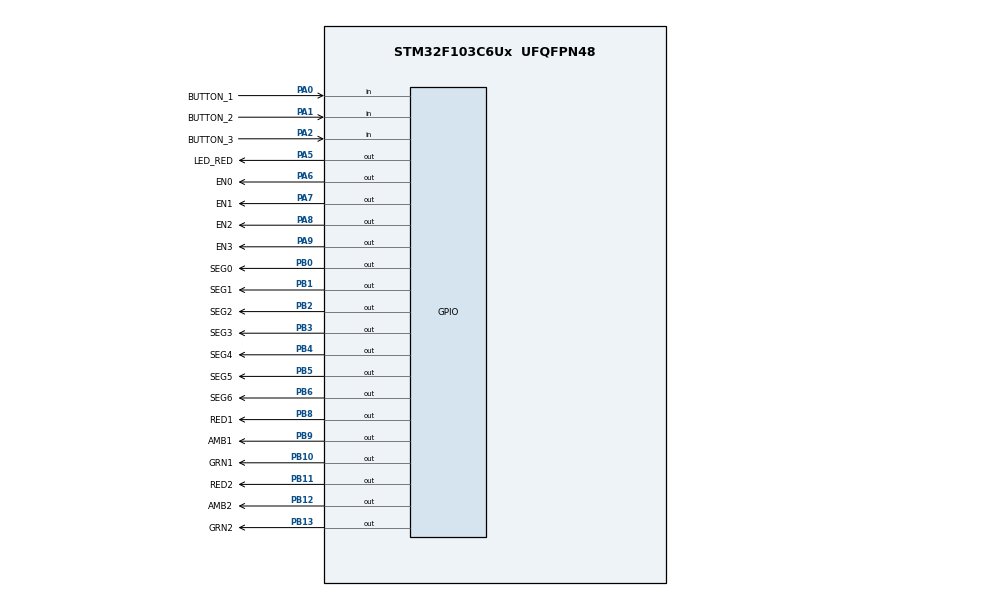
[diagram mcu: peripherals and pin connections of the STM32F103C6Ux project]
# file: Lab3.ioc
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Mcu.Family=STM32F1
Mcu.Name=STM32F103C6Ux
Mcu.Package=UFQFPN48
NVIC.PriorityGroup=NVIC_PRIORITYGROUP_4
NVIC.TIM2_IRQn=true\:0\:0\:false\:false\:true\:true\:true
PA0-WKUP.GPIO_Label=BUTTON_1
PA0-WKUP.GPIO_PuPd=GPIO_NOPULL
PA0-WKUP.Signal=GPIO_Input
PA1.GPIO_Label=BUTTON_2
PA1.GPIO_PuPd=GPIO_NOPULL
PA1.Signal=GPIO_Input
PA2.GPIO_Label=BUTTON_3
PA2.GPIO_PuPd=GPIO_NOPULL
PA2.Signal=GPIO_Input
PA5.GPIO_Label=LED_RED
PA5.PinState=GPIO_PIN_SET
PA5.Signal=GPIO_Output
PA6.GPIO_Label=EN0
PA6.PinState=GPIO_PIN_SET
PA6.Signal=GPIO_Output
PA7.GPIO_Label=EN1
PA7.PinState=GPIO_PIN_SET
PA7.Signal=GPIO_Output
PA8.GPIO_Label=EN2
PA8.PinState=GPIO_PIN_SET
PA8.Signal=GPIO_Output
PA9.GPIO_Label=EN3
PA9.PinState=GPIO_PIN_SET
PA9.Signal=GPIO_Output
PB0.GPIO_Label=SEG0
PB0.PinState=GPIO_PIN_SET
PB0.Signal=GPIO_Output
PB1.GPIO_Label=SEG1
PB1.PinState=GPIO_PIN_SET
PB1.Signal=GPIO_Output
PB10.GPIO_Label=GRN1
PB10.PinState=GPIO_PIN_RESET
PB10.Signal=GPIO_Output
PB11.GPIO_Label=RED2
PB11.PinState=GPIO_PIN_RESET
PB11.Signal=GPIO_Output
PB12.GPIO_Label=AMB2
PB12.PinState=GPIO_PIN_RESET
PB12.Signal=GPIO_Output
PB13.GPIO_Label=GRN2
PB13.PinState=GPIO_PIN_RESET
PB13.Signal=GPIO_Output
PB2.GPIO_Label=SEG2
PB2.PinState=GPIO_PIN_SET
PB2.Signal=GPIO_Output
PB3.GPIO_Label=SEG3
PB3.PinState=GPIO_PIN_SET
PB3.Signal=GPIO_Output
PB4.GPIO_Label=SEG4
PB4.PinState=GPIO_PIN_SET
PB4.Signal=GPIO_Output
PB5.GPIO_Label=SEG5
PB5.PinState=GPIO_PIN_SET
PB5.Signal=GPIO_Output
PB6.GPIO_Label=SEG6
PB6.PinState=GPIO_PIN_SET
PB6.Signal=GPIO_Output
PB8.GPIO_Label=RED1
PB8.PinState=GPIO_PIN_RESET
PB8.Signal=GPIO_Output
PB9.GPIO_Label=AMB1
PB9.PinState=GPIO_PIN_RESET
PB9.Signal=GPIO_Output
ProjectManager.HeapSize=0x200
ProjectManager.StackSize=0x400
ProjectManager.TargetToolchain=STM32CubeIDE
RCC.APB1Freq_Value=8000000
RCC.APB2Freq_Value=8000000
TIM2.Period=9
TIM2.Prescaler=7999
VP_SYS_VS_ND.Mode=No_Debug
VP_TIM2_VS_ClockSourceINT.Mode=Internal
board=custom

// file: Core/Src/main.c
/* USER CODE BEGIN Header */
/**
  ******************************************************************************
  * @file           : main.c
  * @brief          : Main program body
  ******************************************************************************
  * @attention
  *
  * <h2><center>&copy; Copyright (c) 2026 STMicroelectronics.
  * All rights reserved.</center></h2>
  *
  * This software component is licensed by ST under BSD 3-Clause license,
  * the "License"; You may not use this file except in compliance with the
  * License. You may obtain a copy of the License at:
  *                        opensource.org/licenses/BSD-3-Clause
  *
  ******************************************************************************
  */
/* USER CODE END Header */
#include "main.h"

/* USER CODE BEGIN Includes */
#include "software_timer.h"
#include "input_reading.h"
#include "led_display.h"
#include "fsm.h"
/* USER CODE END Includes */

/* USER CODE BEGIN PD */
#define SCAN_PERIOD       250   /* ms per 7-seg digit -> 4 x 250 ms = exactly 1 s per frame,
                                   one full frame per countdown second.
                                   Real board: use <= 5 ms. */
#define HEARTBEAT_PERIOD  500   /* ms, LED_RED on PA5 toggles = MCU alive            */
/* USER CODE END PD */

TIM_HandleTypeDef htim2;

/* USER CODE BEGIN PV */
static int index_led = 0;       /* which 7-seg digit is being scanned */
/* USER CODE END PV */

void SystemClock_Config(void);
static void MX_GPIO_Init(void);
static void MX_TIM2_Init(void);

int main(void)
{

  /* MCU Configuration--------------------------------------------------------*/

  /* Reset of all peripherals, Initializes the Flash interface and the Systick. */
  HAL_Init();

  /* Configure the system clock */
  SystemClock_Config();

  /* Initialize all configured peripherals */
  MX_GPIO_Init();
  MX_TIM2_Init();
  /* USER CODE BEGIN 2 */
  fsm_init();                             /* mode 1, phase RED1-GREEN2 */
  setTimer(TIMER_SCAN, SCAN_PERIOD);
  setTimer(TIMER_HEARTBEAT, HEARTBEAT_PERIOD);
  HAL_TIM_Base_Start_IT(&htim2);          /* start the 10 ms interrupt LAST, so all
                                             software timers start together */
  /* USER CODE END 2 */

  /* Infinite loop */
  while (1)
  {

    /* USER CODE BEGIN 3 */
    fsm_run();                            /* buttons + mode FSM + traffic FSM */

    /* 7-seg scanning. When the numbers change, the scan restarts at once from
     * digit 1 and the scan timer is re-synchronised, so every frame starts
     * exactly when the value changes and all 4 digits are shown before the
     * next change (no lost digit, no mixed frame, no lag behind the lights). */
    if (display_changed_flag() || timer_flag[TIMER_SCAN]) {
      setTimer(TIMER_SCAN, SCAN_PERIOD);
      index_led = scan7SEG(index_led);    /* show 1 digit, go to next */
    }

    if (timer_flag[TIMER_HEARTBEAT]) {    /* heartbeat LED */
      setTimer(TIMER_HEARTBEAT, HEARTBEAT_PERIOD);
      HAL_GPIO_TogglePin(LED_RED_GPIO_Port, LED_RED_Pin);
    }
  }
  /* USER CODE END 3 */
}

void SystemClock_Config(void)
{
  RCC_OscInitTypeDef RCC_OscInitStruct = {0};
  RCC_ClkInitTypeDef RCC_ClkInitStruct = {0};

  /** Initializes the RCC Oscillators according to the specified parameters
  * in the RCC_OscInitTypeDef structure.
  */
  RCC_OscInitStruct.OscillatorType = RCC_OSCILLATORTYPE_HSI;
  RCC_OscInitStruct.HSIState = RCC_HSI_ON;
  RCC_OscInitStruct.HSICalibrationValue = RCC_HSICALIBRATION_DEFAULT;
  RCC_OscInitStruct.PLL.PLLState = RCC_PLL_NONE;
  if (HAL_RCC_OscConfig(&RCC_OscInitStruct) != HAL_OK)
  {
    Error_Handler();
  }
  /** Initializes the CPU, AHB and APB buses clocks
  */
  RCC_ClkInitStruct.ClockType = RCC_CLOCKTYPE_HCLK|RCC_CLOCKTYPE_SYSCLK
                              |RCC_CLOCKTYPE_PCLK1|RCC_CLOCKTYPE_PCLK2;
  RCC_ClkInitStruct.SYSCLKSource = RCC_SYSCLKSOURCE_HSI;
  RCC_ClkInitStruct.AHBCLKDivider = RCC_SYSCLK_DIV1;
  RCC_ClkInitStruct.APB1CLKDivider = RCC_HCLK_DIV1;
  RCC_ClkInitStruct.APB2CLKDivider = RCC_HCLK_DIV1;

  if (HAL_RCC_ClockConfig(&RCC_ClkInitStruct, FLASH_LATENCY_0) != HAL_OK)
  {
    Error_Handler();
  }
}

static void MX_TIM2_Init(void)
{

  TIM_ClockConfigTypeDef sClockSourceConfig = {0};
  TIM_MasterConfigTypeDef sMasterConfig = {0};

  htim2.Instance = TIM2;
  htim2.Init.Prescaler = 7999;
  htim2.Init.CounterMode = TIM_COUNTERMODE_UP;
  htim2.Init.Period = 9;
  htim2.Init.ClockDivision = TIM_CLOCKDIVISION_DIV1;
  htim2.Init.AutoReloadPreload = TIM_AUTORELOAD_PRELOAD_DISABLE;
  if (HAL_TIM_Base_Init(&htim2) != HAL_OK)
  {
    Error_Handler();
  }
  sClockSourceConfig.ClockSource = TIM_CLOCKSOURCE_INTERNAL;
  if (HAL_TIM_ConfigClockSource(&htim2, &sClockSourceConfig) != HAL_OK)
  {
    Error_Handler();
  }
  sMasterConfig.MasterOutputTrigger = TIM_TRGO_RESET;
  sMasterConfig.MasterSlaveMode = TIM_MASTERSLAVEMODE_DISABLE;
  if (HAL_TIMEx_MasterConfigSynchronization(&htim2, &sMasterConfig) != HAL_OK)
  {
    Error_Handler();
  }

}

static void MX_GPIO_Init(void)
{
  GPIO_InitTypeDef GPIO_InitStruct = {0};

  /* GPIO Ports Clock Enable */
  __HAL_RCC_GPIOA_CLK_ENABLE();
  __HAL_RCC_GPIOB_CLK_ENABLE();

  /*Configure GPIO pin Output Level */
  HAL_GPIO_WritePin(GPIOA, LED_RED_Pin|EN0_Pin|EN1_Pin|EN2_Pin
                          |EN3_Pin, GPIO_PIN_SET);

  /*Configure GPIO pin Output Level */
  HAL_GPIO_WritePin(GPIOB, SEG0_Pin|SEG1_Pin|SEG2_Pin|SEG3_Pin
                          |SEG4_Pin|SEG5_Pin|SEG6_Pin, GPIO_PIN_SET);

  /*Configure GPIO pin Output Level */
  HAL_GPIO_WritePin(GPIOB, GRN1_Pin|RED2_Pin|AMB2_Pin|GRN2_Pin
                          |RED1_Pin|AMB1_Pin, GPIO_PIN_RESET);

  /*Configure GPIO pins : BUTTON_1_Pin BUTTON_2_Pin BUTTON_3_Pin */
  GPIO_InitStruct.Pin = BUTTON_1_Pin|BUTTON_2_Pin|BUTTON_3_Pin;
  GPIO_InitStruct.Mode = GPIO_MODE_INPUT;
  GPIO_InitStruct.Pull = GPIO_NOPULL;
  HAL_GPIO_Init(GPIOA, &GPIO_InitStruct);

  /*Configure GPIO pins : LED_RED_Pin EN0_Pin EN1_Pin EN2_Pin
                           EN3_Pin */
  GPIO_InitStruct.Pin = LED_RED_Pin|EN0_Pin|EN1_Pin|EN2_Pin
                          |EN3_Pin;
  GPIO_InitStruct.Mode = GPIO_MODE_OUTPUT_PP;
  GPIO_InitStruct.Pull = GPIO_NOPULL;
  GPIO_InitStruct.Speed = GPIO_SPEED_FREQ_LOW;
  HAL_GPIO_Init(GPIOA, &GPIO_InitStruct);

  /*Configure GPIO pins : SEG0_Pin SEG1_Pin SEG2_Pin GRN1_Pin
                           RED2_Pin AMB2_Pin GRN2_Pin SEG3_Pin
                           SEG4_Pin SEG5_Pin SEG6_Pin RED1_Pin
                           AMB1_Pin */
  GPIO_InitStruct.Pin = SEG0_Pin|SEG1_Pin|SEG2_Pin|GRN1_Pin
                          |RED2_Pin|AMB2_Pin|GRN2_Pin|SEG3_Pin
                          |SEG4_Pin|SEG5_Pin|SEG6_Pin|RED1_Pin
                          |AMB1_Pin;
  GPIO_InitStruct.Mode = GPIO_MODE_OUTPUT_PP;
  GPIO_InitStruct.Pull = GPIO_NOPULL;
  GPIO_InitStruct.Speed = GPIO_SPEED_FREQ_LOW;
  HAL_GPIO_Init(GPIOB, &GPIO_InitStruct);

}

/* USER CODE BEGIN 4 */
/* Called every 10 ms by TIM2 - keep it short: only tick timers and sample buttons */
void HAL_TIM_PeriodElapsedCallback(TIM_HandleTypeDef *htim)
{
  if (htim->Instance == TIM2) {
    timer_run();
    button_reading();
  }
}
/* USER CODE END 4 */

void Error_Handler(void)
{
  __disable_irq();
  while (1)
  {
  }
}

/************************ (C) COPYRIGHT STMicroelectronics *****END OF FILE****/
